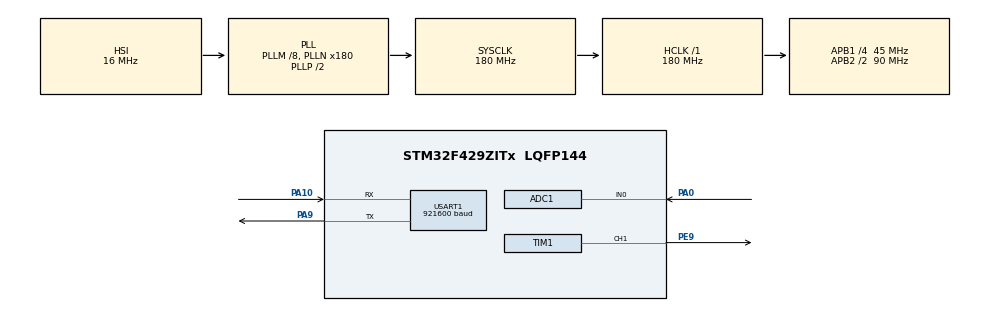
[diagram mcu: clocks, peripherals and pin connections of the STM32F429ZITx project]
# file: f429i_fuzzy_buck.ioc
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ADC1.Channel-0\#ChannelRegularConversion=ADC_CHANNEL_0
ADC1.NbrOfConversionFlag=1
ADC1.Rank-0\#ChannelRegularConversion=1
ADC1.SamplingTime-0\#ChannelRegularConversion=ADC_SAMPLETIME_15CYCLES
ADC1.master=1
Mcu.Family=STM32F4
Mcu.Name=STM32F429ZITx
Mcu.Package=LQFP144
NVIC.PriorityGroup=NVIC_PRIORITYGROUP_4
NVIC.USART1_IRQn=true\:0\:0\:false\:false\:true\:true\:true\:true
PA0/WKUP.Signal=ADCx_IN0
PA10.Mode=Asynchronous
PA10.Signal=USART1_RX
PA9.Mode=Asynchronous
PA9.Signal=USART1_TX
PE9.GPIO_Speed=GPIO_SPEED_FREQ_VERY_HIGH
PE9.Signal=S_TIM1_CH1
ProjectManager.HeapSize=0x200
ProjectManager.StackSize=0x400
ProjectManager.TargetToolchain=STM32CubeIDE
RCC.48MHZClocksFreq_Value=90000000
RCC.AHBFreq_Value=180000000
RCC.APB1CLKDivider=RCC_HCLK_DIV4
RCC.APB1Freq_Value=45000000
RCC.APB1TimFreq_Value=90000000
RCC.APB2CLKDivider=RCC_HCLK_DIV2
RCC.APB2Freq_Value=90000000
RCC.APB2TimFreq_Value=180000000
RCC.CortexFreq_Value=180000000
RCC.HCLKFreq_Value=180000000
RCC.HSE_VALUE=25000000
RCC.HSI_VALUE=16000000
RCC.LSE_VALUE=32768
RCC.PLLM=8
RCC.PLLN=180
RCC.SYSCLKFreq_VALUE=180000000
RCC.SYSCLKSource=RCC_SYSCLKSOURCE_PLLCLK
RCC.VCOOutputFreq_Value=360000000
SH.ADCx_IN0.0=ADC1_IN0,IN0
SH.S_TIM1_CH1.0=TIM1_CH1,PWM Generation1 CH1
TIM1.Channel-PWM\ Generation1\ CH1=TIM_CHANNEL_1
TIM1.Period=100 -1
TIM1.Prescaler=18 - 1
USART1.BaudRate=921600
USART1.VirtualMode=VM_ASYNC
board=custom

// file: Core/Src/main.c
/* USER CODE BEGIN Header */
/**
  ******************************************************************************
  * @file           : main.c
  * @brief          : Main program body - Buck Converter Fuzzy PID Control
  ******************************************************************************
  * @attention
  *
  * Copyright (c) 2025 STMicroelectronics.
  * All rights reserved.
  *
  * This software is licensed under terms that can be found in the LICENSE file
  * in the root directory of this software component.
  * If no LICENSE file comes with this software, it is provided AS-IS.
  *
  ******************************************************************************
  */
/* USER CODE END Header */
#include "main.h"

/* USER CODE BEGIN Includes */
#include "stdint.h"
#include "string.h"
#include "stdio.h"
/* USER CODE END Includes */

/* USER CODE BEGIN PD */
#define UART_RX_BUFFER_SIZE 64
#define UART_TX_BUFFER_SIZE 64
#define ADC_FILTER_SIZE 8
/* USER CODE END PD */

ADC_HandleTypeDef hadc1;

TIM_HandleTypeDef htim1;

UART_HandleTypeDef huart1;

/* USER CODE BEGIN PV */
// PWM Control
uint8_t duty_percentage = 0;  // Fixed typo: percentage not percantage
uint32_t pwm_period = 100;    // PWM period (from TIM1 configuration)

// ADC Variables
uint32_t adc_value = 0;
uint32_t adc_values[ADC_FILTER_SIZE] = {0};  // Moving average filter
uint8_t adc_index = 0;
uint32_t adc_filtered = 0;

// UART Communication
uint8_t uart_rx_buffer[UART_RX_BUFFER_SIZE];
uint8_t uart_tx_buffer[UART_TX_BUFFER_SIZE];
volatile uint8_t uart_rx_complete = 0;
volatile uint8_t uart_command_ready = 0;
uint8_t rx_char;
/* USER CODE END PV */

void SystemClock_Config(void);
static void MX_GPIO_Init(void);
static void MX_TIM1_Init(void);
static void MX_ADC1_Init(void);
static void MX_USART1_UART_Init(void);
/* USER CODE BEGIN PFP */
void Process_UART_Command(void);
void Set_PWM_Duty(uint8_t duty);
uint32_t Read_ADC_Filtered(void);
void Send_ADC_Response(void);
void Initialize_System(void);
/* USER CODE END PFP */

/* USER CODE BEGIN 0 */

/**
 * @brief Set PWM duty cycle for buck converter
 * @param duty: Duty cycle percentage (0-100)
 */
void Set_PWM_Duty(uint8_t duty)
{
    if (duty > 90) duty = 90;  // Limit to maximum 90%

    duty_percentage = duty;
    uint32_t pulse_value = (duty * pwm_period) / 100;
    __HAL_TIM_SetCompare(&htim1, TIM_CHANNEL_1, pulse_value);
}

/**
 * @brief Read ADC value with moving average filter
 * @retval Filtered ADC value (0-4095)
 */
uint32_t Read_ADC_Filtered(void)
{
    // Start ADC conversion
    HAL_ADC_Start(&hadc1);

    // Wait for conversion to complete
    if (HAL_ADC_PollForConversion(&hadc1, 10) == HAL_OK)
    {
        // Get ADC value
        adc_value = HAL_ADC_GetValue(&hadc1);

        // Add to moving average filter
        adc_values[adc_index] = adc_value;
        adc_index = (adc_index + 1) % ADC_FILTER_SIZE;

        // Calculate moving average
        uint32_t sum = 0;
        for (int i = 0; i < ADC_FILTER_SIZE; i++)
        {
            sum += adc_values[i];
        }
        adc_filtered = sum / ADC_FILTER_SIZE;
    }

    HAL_ADC_Stop(&hadc1);
    return adc_filtered;
}

/**
 * @brief Send ADC response to MATLAB
 */
void Send_ADC_Response(void)
{
    uint32_t adc_reading = Read_ADC_Filtered();

    // Format response: "ADC:XXXX\r\n"
    int len = snprintf((char*)uart_tx_buffer, UART_TX_BUFFER_SIZE,
                      "ADC:%lu\r\n", adc_reading);

    HAL_UART_Transmit(&huart1, uart_tx_buffer, len, 100);
}

int duty;

/**
 * @brief Process received UART command from MATLAB
 */
void Process_UART_Command(void)
{
    if (!uart_command_ready) return;

    uart_command_ready = 0;

    // Null-terminate the received string
    uart_rx_buffer[UART_RX_BUFFER_SIZE-1] = '\0';

    // Check for DUTY command: "DUTY:XX"
    if (strncmp((char*)uart_rx_buffer, "DUTY:", 5) == 0)
    {
        // Extract duty cycle value
        duty = atoi((char*)&uart_rx_buffer[5]);

        // Validate and set duty cycle
        if (duty >= 0 && duty <= 100)
        {
            Set_PWM_Duty((uint8_t)duty);

            // Send acknowledgment (optional)
            // snprintf((char*)uart_tx_buffer, UART_TX_BUFFER_SIZE, "OK:%d\r\n", duty);
            // HAL_UART_Transmit(&huart1, uart_tx_buffer, strlen((char*)uart_tx_buffer), 100);
        }
    }
    // Check for ADC request: "ADC?"
    else if (strncmp((char*)uart_rx_buffer, "ADC?", 4) == 0)
    {
        Send_ADC_Response();
    }

    // Clear the buffer
    memset(uart_rx_buffer, 0, UART_RX_BUFFER_SIZE);

    // Restart UART receive
    HAL_UART_Receive_IT(&huart1, &rx_char, 1);
}

/**
 * @brief Initialize system for buck converter control
 */
void Initialize_System(void)
{
    // Initialize ADC filter array
    for (int i = 0; i < ADC_FILTER_SIZE; i++)
    {
        adc_values[i] = 0;
    }

    // Set initial duty cycle to 0% for safety
    Set_PWM_Duty(0);

    // Start UART receive interrupt
    HAL_UART_Receive_IT(&huart1, &rx_char, 1);

    // Send startup message
    // const char* startup_msg = "STM32 Buck Converter Ready\r\n";
    // HAL_UART_Transmit(&huart1, (uint8_t*)startup_msg, strlen(startup_msg), 100);
}

/**
 * @brief UART Receive Complete Callback
 * @param huart: UART handle
 */
void HAL_UART_RxCpltCallback(UART_HandleTypeDef *huart)
{
    if (huart->Instance == USART1)
    {
        static uint8_t rx_index = 0;

        // Store received character
        if (rx_char == '\n' || rx_char == '\r')
        {
            // End of command
            uart_rx_buffer[rx_index] = '\0';
            uart_command_ready = 1;
            rx_index = 0;
        }
        else if (rx_index < UART_RX_BUFFER_SIZE - 1)
        {
            // Store character
            uart_rx_buffer[rx_index++] = rx_char;
        }
        else
        {
            // Buffer overflow, reset
            rx_index = 0;
            memset(uart_rx_buffer, 0, UART_RX_BUFFER_SIZE);
        }

        // Continue receiving
        HAL_UART_Receive_IT(&huart1, &rx_char, 1);
    }
}

/* USER CODE END 0 */

int main(void)
{

  /* MCU Configuration--------------------------------------------------------*/

  /* Reset of all peripherals, Initializes the Flash interface and the Systick. */
  HAL_Init();

  /* Configure the system clock */
  SystemClock_Config();

  /* Initialize all configured peripherals */
  MX_GPIO_Init();
  MX_TIM1_Init();
  MX_ADC1_Init();
  MX_USART1_UART_Init();
  /* USER CODE BEGIN 2 */

  // Start PWM output
  HAL_TIM_PWM_Start(&htim1, TIM_CHANNEL_1);

  // Initialize buck converter control system
  Initialize_System();

  // Small delay for system stabilization
  HAL_Delay(100);
  uint32_t last_tick = HAL_GetTick();

  /* USER CODE END 2 */

  /* Infinite loop */
  while (1)
  {

    /* USER CODE BEGIN 3 */

    // Process incoming UART commands from MATLAB
    Process_UART_Command();

    // Optional: Add periodic ADC reading for diagnostics
    if (HAL_GetTick() - last_tick >= 50)
    {
        // Read ADC for internal monitoring (not sent unless requested)
        Read_ADC_Filtered();
        last_tick = HAL_GetTick();
    }

    // Small delay to prevent excessive CPU usage
    HAL_Delay(1);

  }
  /* USER CODE END 3 */
}

void SystemClock_Config(void)
{
  RCC_OscInitTypeDef RCC_OscInitStruct = {0};
  RCC_ClkInitTypeDef RCC_ClkInitStruct = {0};

  /** Configure the main internal regulator output voltage
  */
  __HAL_RCC_PWR_CLK_ENABLE();
  __HAL_PWR_VOLTAGESCALING_CONFIG(PWR_REGULATOR_VOLTAGE_SCALE1);

  /** Initializes the RCC Oscillators according to the specified parameters
  * in the RCC_OscInitTypeDef structure.
  */
  RCC_OscInitStruct.OscillatorType = RCC_OSCILLATORTYPE_HSI;
  RCC_OscInitStruct.HSIState = RCC_HSI_ON;
  RCC_OscInitStruct.HSICalibrationValue = RCC_HSICALIBRATION_DEFAULT;
  RCC_OscInitStruct.PLL.PLLState = RCC_PLL_ON;
  RCC_OscInitStruct.PLL.PLLSource = RCC_PLLSOURCE_HSI;
  RCC_OscInitStruct.PLL.PLLM = 8;
  RCC_OscInitStruct.PLL.PLLN = 180;
  RCC_OscInitStruct.PLL.PLLP = RCC_PLLP_DIV2;
  RCC_OscInitStruct.PLL.PLLQ = 4;
  if (HAL_RCC_OscConfig(&RCC_OscInitStruct) != HAL_OK)
  {
    Error_Handler();
  }

  /** Activate the Over-Drive mode
  */
  if (HAL_PWREx_EnableOverDrive() != HAL_OK)
  {
    Error_Handler();
  }

  /** Initializes the CPU, AHB and APB buses clocks
  */
  RCC_ClkInitStruct.ClockType = RCC_CLOCKTYPE_HCLK|RCC_CLOCKTYPE_SYSCLK
                              |RCC_CLOCKTYPE_PCLK1|RCC_CLOCKTYPE_PCLK2;
  RCC_ClkInitStruct.SYSCLKSource = RCC_SYSCLKSOURCE_PLLCLK;
  RCC_ClkInitStruct.AHBCLKDivider = RCC_SYSCLK_DIV1;
  RCC_ClkInitStruct.APB1CLKDivider = RCC_HCLK_DIV4;
  RCC_ClkInitStruct.APB2CLKDivider = RCC_HCLK_DIV2;

  if (HAL_RCC_ClockConfig(&RCC_ClkInitStruct, FLASH_LATENCY_5) != HAL_OK)
  {
    Error_Handler();
  }
}

static void MX_ADC1_Init(void)
{

  ADC_ChannelConfTypeDef sConfig = {0};

  /** Configure the global features of the ADC (Clock, Resolution, Data Alignment and number of conversion)
  */
  hadc1.Instance = ADC1;
  hadc1.Init.ClockPrescaler = ADC_CLOCK_SYNC_PCLK_DIV4;
  hadc1.Init.Resolution = ADC_RESOLUTION_12B;
  hadc1.Init.ScanConvMode = DISABLE;
  hadc1.Init.ContinuousConvMode = DISABLE;
  hadc1.Init.DiscontinuousConvMode = DISABLE;
  hadc1.Init.ExternalTrigConvEdge = ADC_EXTERNALTRIGCONVEDGE_NONE;
  hadc1.Init.ExternalTrigConv = ADC_SOFTWARE_START;
  hadc1.Init.DataAlign = ADC_DATAALIGN_RIGHT;
  hadc1.Init.NbrOfConversion = 1;
  hadc1.Init.DMAContinuousRequests = DISABLE;
  hadc1.Init.EOCSelection = ADC_EOC_SINGLE_CONV;
  if (HAL_ADC_Init(&hadc1) != HAL_OK)
  {
    Error_Handler();
  }

  /** Configure for the selected ADC regular channel its corresponding rank in the sequencer and its sample time.
  */
  sConfig.Channel = ADC_CHANNEL_0;
  sConfig.Rank = 1;
  sConfig.SamplingTime = ADC_SAMPLETIME_15CYCLES;
  if (HAL_ADC_ConfigChannel(&hadc1, &sConfig) != HAL_OK)
  {
    Error_Handler();
  }

}

static void MX_TIM1_Init(void)
{

  TIM_MasterConfigTypeDef sMasterConfig = {0};
  TIM_OC_InitTypeDef sConfigOC = {0};
  TIM_BreakDeadTimeConfigTypeDef sBreakDeadTimeConfig = {0};

  htim1.Instance = TIM1;
  htim1.Init.Prescaler = 18 - 1;
  htim1.Init.CounterMode = TIM_COUNTERMODE_UP;
  htim1.Init.Period = 100 -1;
  htim1.Init.ClockDivision = TIM_CLOCKDIVISION_DIV1;
  htim1.Init.RepetitionCounter = 0;
  htim1.Init.AutoReloadPreload = TIM_AUTORELOAD_PRELOAD_DISABLE;
  if (HAL_TIM_PWM_Init(&htim1) != HAL_OK)
  {
    Error_Handler();
  }
  sMasterConfig.MasterOutputTrigger = TIM_TRGO_RESET;
  sMasterConfig.MasterSlaveMode = TIM_MASTERSLAVEMODE_DISABLE;
  if (HAL_TIMEx_MasterConfigSynchronization(&htim1, &sMasterConfig) != HAL_OK)
  {
    Error_Handler();
  }
  sConfigOC.OCMode = TIM_OCMODE_PWM1;
  sConfigOC.Pulse = 0;
  sConfigOC.OCPolarity = TIM_OCPOLARITY_HIGH;
  sConfigOC.OCNPolarity = TIM_OCNPOLARITY_HIGH;
  sConfigOC.OCFastMode = TIM_OCFAST_DISABLE;
  sConfigOC.OCIdleState = TIM_OCIDLESTATE_RESET;
  sConfigOC.OCNIdleState = TIM_OCNIDLESTATE_RESET;
  if (HAL_TIM_PWM_ConfigChannel(&htim1, &sConfigOC, TIM_CHANNEL_1) != HAL_OK)
  {
    Error_Handler();
  }
  sBreakDeadTimeConfig.OffStateRunMode = TIM_OSSR_DISABLE;
  sBreakDeadTimeConfig.OffStateIDLEMode = TIM_OSSI_DISABLE;
  sBreakDeadTimeConfig.LockLevel = TIM_LOCKLEVEL_OFF;
  sBreakDeadTimeConfig.DeadTime = 0;
  sBreakDeadTimeConfig.BreakState = TIM_BREAK_DISABLE;
  sBreakDeadTimeConfig.BreakPolarity = TIM_BREAKPOLARITY_HIGH;
  sBreakDeadTimeConfig.AutomaticOutput = TIM_AUTOMATICOUTPUT_DISABLE;
  if (HAL_TIMEx_ConfigBreakDeadTime(&htim1, &sBreakDeadTimeConfig) != HAL_OK)
  {
    Error_Handler();
  }
  HAL_TIM_MspPostInit(&htim1);

}

static void MX_USART1_UART_Init(void)
{

  huart1.Instance = USART1;
  huart1.Init.BaudRate = 921600;
  huart1.Init.WordLength = UART_WORDLENGTH_8B;
  huart1.Init.StopBits = UART_STOPBITS_1;
  huart1.Init.Parity = UART_PARITY_NONE;
  huart1.Init.Mode = UART_MODE_TX_RX;
  huart1.Init.HwFlowCtl = UART_HWCONTROL_NONE;
  huart1.Init.OverSampling = UART_OVERSAMPLING_16;
  if (HAL_UART_Init(&huart1) != HAL_OK)
  {
    Error_Handler();
  }

}

static void MX_GPIO_Init(void)
{

  /* GPIO Ports Clock Enable */
  __HAL_RCC_GPIOA_CLK_ENABLE();
  __HAL_RCC_GPIOE_CLK_ENABLE();

}

/* USER CODE BEGIN 4 */
int _write(int fd, unsigned char *buf, int len) {
  if (fd == 1 || fd == 2) {                     // stdout or stderr ?
    HAL_UART_Transmit(&huart1, buf, len, 999);  // Print to the UART
  }
  return len;
}

/* USER CODE END 4 */

void Error_Handler(void)
{
  __disable_irq();
  while (1)
  {
  }
}
